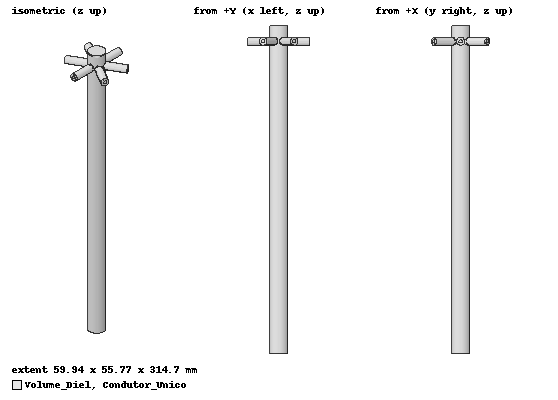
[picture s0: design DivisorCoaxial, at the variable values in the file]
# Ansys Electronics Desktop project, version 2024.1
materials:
  vacuum: permittivity=1
  Ar: permittivity=1.0006 permeability=1
  pec: conductivity=1e+30
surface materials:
  Steel-oxidised-surface

design DivisorCoaxial (HFSS, HFSS Modal Network, model units mm)
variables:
  comp_total = 314.68769mm
  comp_secoes = 299.70256mm
  dia_int_tubo = 17mm
  dia_saida_diel = dia_int_tubo / 2.2
  dia_saida_cond = (dia_int_tubo / 2.2) / 2.3
  comp_saida = 29.970256mm
  dia_sc1 = 8.7264975mm
  dia_sc2 = 11.102104mm
  dia_sc3 = 12.948414mm
  dia_sc4 = 14.28582mm
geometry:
  Volume_Diel [Ar] = cylinder(axis=Z, base_centre=(0mm, 0mm, 0mm), radius=dia_int_tubo/2, height=comp_total)
  Condutor_Unico [pec] = cylinder(axis=Z, base_centre=(0mm, 0mm, 0mm), radius=dia_sc1/2, height=74.92564mm)
  Cond_Sec2 = cylinder(axis=Z, base_centre=(0mm, 0mm, 74.92564mm), radius=dia_sc2/2, height=74.92564mm)
  Cond_Sec3 = cylinder(axis=Z, base_centre=(0mm, 0mm, 149.85128mm), radius=dia_sc3/2, height=74.92564mm)
  Cond_Sec4 = cylinder(axis=Z, base_centre=(0mm, 0mm, 224.77692mm), radius=dia_sc4/2, height=74.92564mm)
  Output_Outer_1 = cylinder(axis=X, base_centre=(0mm, 0mm, comp_secoes), radius=dia_saida_diel/2, height=comp_saida)
  Output_Inner_1 = cylinder(axis=X, base_centre=(0mm, 0mm, comp_secoes), radius=dia_saida_cond/2, height=comp_saida)
  Output_Outer_1_1..Output_Outer_1_5 = Output_Outer_1.duplicate_around_axis(axis=Z, angle=360deg/6, total=6)
  Output_Inner_1_1..Output_Inner_1_5 = Output_Inner_1.duplicate_around_axis(axis=Z, angle=360deg/6, total=6)
  Volume_Diel.unite(Output_Outer_1, Output_Outer_1_1..Output_Outer_1_5)
  Condutor_Unico.unite(Cond_Sec2, Cond_Sec3, Cond_Sec4, Output_Inner_1, Output_Inner_1_1..Output_Inner_1_5)
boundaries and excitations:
  P1: Wave Port Faces=Volume_Diel.face(-z end) WavePortType=Modal NumModes=1 Modes{Mode1{CharImp=Zpi RenormImp=50ohm}}
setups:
  Setup1: HfssDriven Frequency=1GHz MaxDeltaS=0.02 MaximumPasses=8 MinimumPasses=1 MinimumConvergedPasses=1 PercentRefinement=30 BasisOrder=1 PortAccuracy=2 DrivenSolverType="Direct Solver"
    sweep Sweep1: 800MHz to 1200MHz, 201 points; Type=Fast
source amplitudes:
  P1:1: 1W 0deg
